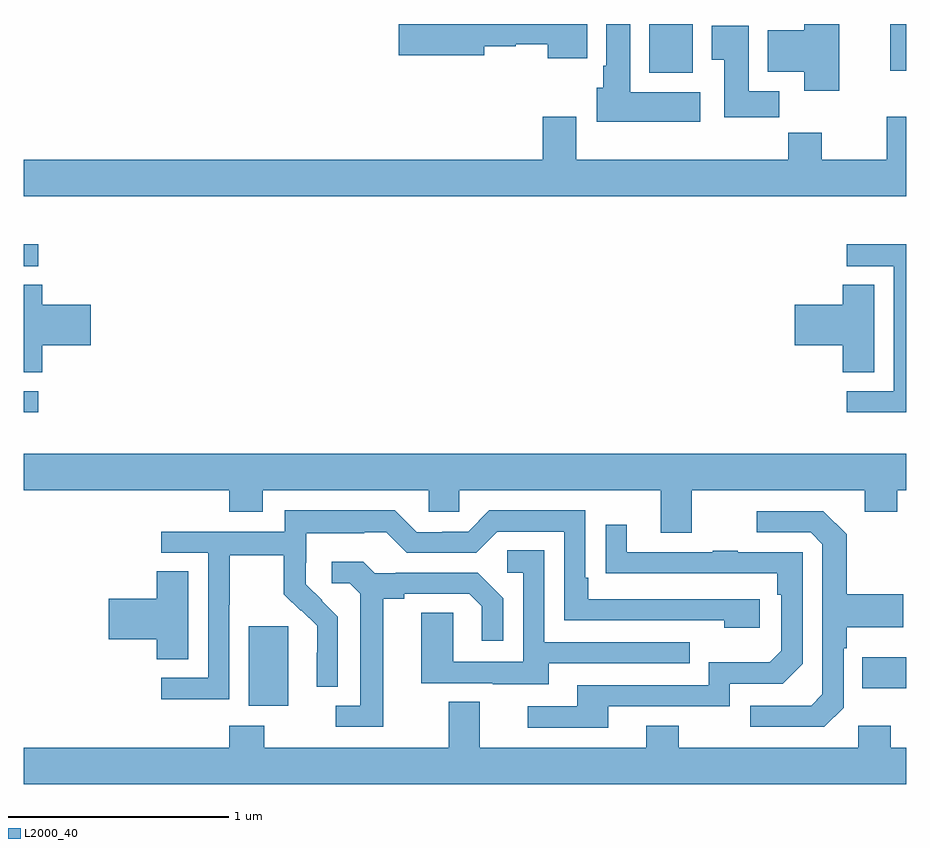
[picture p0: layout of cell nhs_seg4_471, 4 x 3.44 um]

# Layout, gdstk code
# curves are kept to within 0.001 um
import gdstk
lib = gdstk.Library(unit=1e-6, precision=1e-09)
def R(c, l, rs):  # rectangles x0, y0, x1, y1
    for r in rs: c.add(gdstk.rectangle(r[:2], r[2:], *l))
def P(c, l, *ps):  # polygons
    for p in ps: c.add(gdstk.Polygon(p, *l))
L2000_40 = (2000, 40)

nhs_seg4_471 = lib.new_cell('nhs_seg4_471')
R(nhs_seg4_471, L2000_40, [(134.021,827.81,134.2,828.171), (136.801,827.891,137,828.031), (133,829.14,133.066,829.236), (133,829.803,133.066,829.902), (135.836,830.678,136.033,830.9), (136.928,830.688,137,830.9)])
P(nhs_seg4_471, L2000_40, [(135.553,830.9),(134.7,830.9),(134.7,830.758),(135.088,830.758),(135.088,830.8),(135.231,830.8),(135.231,830.808),(135.374,830.808),(135.374,830.744),(135.553,830.744)],
  [(136.696,830.9),(136.538,830.9),(136.538,830.872),(136.373,830.872),(136.373,830.684),(136.538,830.684),(136.538,830.598),(136.696,830.598)],
  [(136.066,830.59),(135.748,830.59),(135.748,830.9),(135.641,830.9),(135.641,830.71),(135.626,830.71),(135.626,830.61),(135.596,830.61),(135.596,830.456),(136.066,830.456)],
  [(136.424,830.596),(136.285,830.596),(136.285,830.893),(136.118,830.893),(136.118,830.737),(136.175,830.737),(136.175,830.478),(136.424,830.478)],
  [(137,830.479),(136.912,830.479),(136.912,830.284),(136.617,830.284),(136.617,830.408),(136.465,830.408),(136.465,830.284),(135.505,830.284),(135.505,830.479),(135.353,830.479),(135.353,830.284),(133,830.284),(133,830.12),(137,830.12)],
  [(137,829.902),(136.731,829.902),(136.731,829.803),(136.944,829.803),(136.944,829.236),(136.731,829.236),(136.731,829.14),(137,829.14)],
  [(133.085,829.445),(133.303,829.445),(133.303,829.628),(133.085,829.628),(133.085,829.718),(133,829.718),(133,829.321),(133.085,829.321)],
  [(136.855,829.718),(136.712,829.718),(136.712,829.628),(136.494,829.628),(136.494,829.445),(136.712,829.445),(136.712,829.321),(136.855,829.321)],
  [(136.027,828.788),(136.811,828.788),(136.811,828.689),(136.959,828.689),(136.959,828.788),(137,828.788),(137,828.952),(133,828.952),(133,828.788),(133.931,828.788),(133.931,828.689),(134.083,828.689),(134.083,828.788),(134.835,828.788),(134.835,828.69),(134.973,828.69),(134.973,828.788),(135.887,828.788),(135.887,828.594),(136.027,828.594)],
  [(133.932,828.268),(133.935,828.268),(133.935,828.492),(134.179,828.492),(134.179,828.317),(134.256,828.24),(134.259,828.243),(134.33,828.173),(134.33,828.05),(134.328,828.05),(134.328,827.896),(134.424,827.896),(134.424,828.214),(134.278,828.362),(134.278,828.459),(134.28,828.459),(134.28,828.593),(134.543,828.593),(134.543,828.597),(134.643,828.597),(134.736,828.504),(135.051,828.504),(135.147,828.6),(135.45,828.6),(135.45,828.198),(136.175,828.198),(136.175,828.164),(136.336,828.164),(136.336,828.294),(135.559,828.294),(135.559,828.391),(135.546,828.391),(135.546,828.696),(135.111,828.696),(135.015,828.6),(134.897,828.6),(134.897,828.597),(134.781,828.597),(134.681,828.697),(134.184,828.697),(134.184,828.6),(133.623,828.6),(133.623,828.504),(133.836,828.504),(133.836,827.937),(133.623,827.937),(133.623,827.839),(133.932,827.839)],
  [(136.716,827.802),(136.716,828.071),(136.729,828.071),(136.729,828.167),(136.985,828.167),(136.985,828.315),(136.729,828.315),(136.729,828.587),(136.623,828.693),(136.323,828.693),(136.323,828.597),(136.566,828.597),(136.62,828.543),(136.62,827.862),(136.569,827.811),(136.293,827.811),(136.293,827.715),(136.629,827.715)],
  [(135.649,827.808),(136.2,827.808),(136.2,827.91),(136.44,827.91),(136.53,828),(136.53,828.507),(136.235,828.507),(136.235,828.512),(136.123,828.512),(136.123,828.507),(135.733,828.507),(135.733,828.631),(135.637,828.631),(135.637,828.412),(136.414,828.411),(136.414,828.314),(136.434,828.314),(136.434,828.06),(136.381,828.007),(136.104,828.007),(136.104,827.904),(135.509,827.904),(135.509,827.808),(135.285,827.808),(135.285,827.712),(135.649,827.712)],
  [(135.379,828.003),(136.019,828.003),(136.019,828.099),(135.36,828.099),(135.36,828.515),(135.192,828.515),(135.192,828.414),(135.264,828.414),(135.264,828.009),(134.946,828.009),(134.946,828.233),(134.801,828.233),(134.801,827.913),(135.125,827.913),(135.125,827.909),(135.379,827.909)],
  [(134.629,828.296),(134.725,828.296),(134.725,828.318),(135.02,828.318),(135.077,828.261),(135.077,828.105),(135.174,828.105),(135.174,828.298),(135.058,828.414),(134.686,828.414),(134.686,828.411),(134.592,828.411),(134.54,828.463),(134.397,828.463),(134.397,828.366),(134.478,828.366),(134.525,828.319),(134.525,827.811),(134.415,827.811),(134.415,827.715),(134.629,827.715)],
  [(133.747,828.419),(133.604,828.419),(133.604,828.296),(133.386,828.296),(133.386,828.113),(133.604,828.113),(133.604,828.022),(133.747,828.022)],
  [(137,827.62),(136.929,827.62),(136.929,827.719),(136.782,827.719),(136.782,827.62),(135.969,827.62),(135.969,827.719),(135.821,827.719),(135.821,827.62),(135.067,827.62),(135.067,827.828),(134.927,827.828),(134.927,827.62),(134.091,827.62),(134.091,827.719),(133.931,827.719),(133.931,827.62),(133,827.62),(133,827.456),(137,827.456)])

lib.write_gds('nhs_seg4_471.gds')
